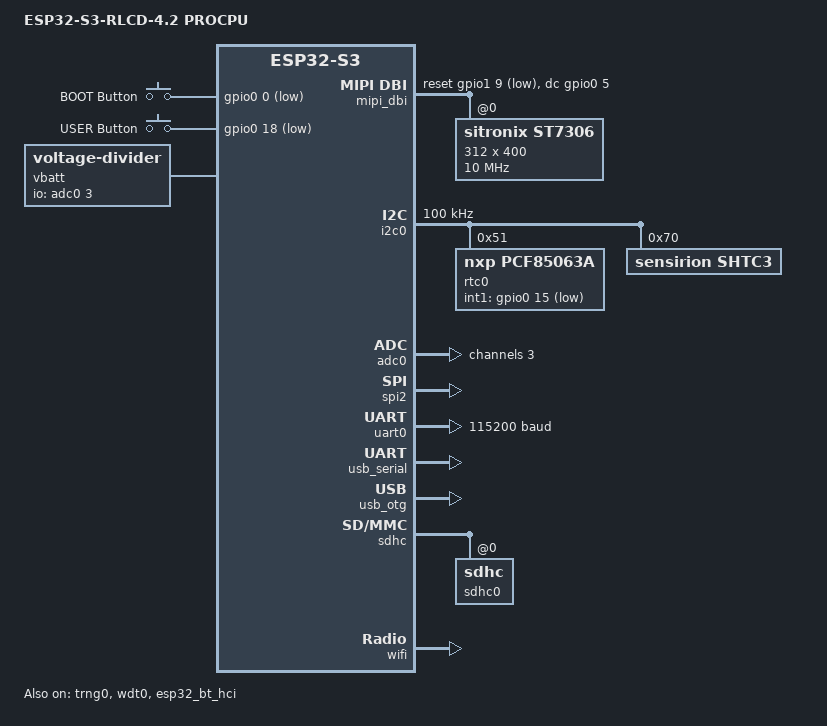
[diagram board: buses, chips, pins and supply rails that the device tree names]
/*
 * Copyright (c) 2026
 * SPDX-License-Identifier: Apache-2.0
 */

/dts-v1/;

#include <espressif/esp32s3/esp32s3_wroom_n16r8.dtsi>
#include <zephyr/dt-bindings/adc/adc.h>
#include <zephyr/dt-bindings/input/input-event-codes.h>
#include <espressif/partitions_0x0_amp_16M.dtsi>
#include "esp32s3_rlcd_4_2-pinctrl.dtsi"

/ {
	model = "ESP32-S3-RLCD-4.2 PROCPU";
	compatible = "waveshare,esp32-s3-rlcd-4.2";

	aliases {
		i2c-0 = &i2c0;
		uart-0 = &uart0;
		rtc = &rtc0;
		sw0 = &button0;
		sw1 = &button1;
		sdhc0 = &sdhc0;
		watchdog0 = &wdt0;
		dht0 = &shtc3;
	};

	chosen {
		zephyr,sram = &sram1;
		zephyr,console = &usb_serial;
		zephyr,shell-uart = &usb_serial;
		zephyr,flash = &flash0;
		zephyr,code-partition = &slot0_partition;
		zephyr,display = &st7306;
		zephyr,sdhc = &sdhc0;
		zephyr,bt-hci = &esp32_bt_hci;
	};

	buttons {
		compatible = "gpio-keys";

		button0: button_0 {
			gpios = <&gpio0 0 (GPIO_PULL_UP | GPIO_ACTIVE_LOW)>;
			label = "BOOT Button";
			zephyr,code = <INPUT_KEY_0>;
		};

		button1: button_1 {
			gpios = <&gpio0 18 (GPIO_PULL_UP | GPIO_ACTIVE_LOW)>;
			label = "USER Button";
			zephyr,code = <INPUT_KEY_1>;
		};
	};

	vbatt: vbatt {
		compatible = "voltage-divider";
		io-channels = <&adc0 3>;
		output-ohms = <100000>;
		full-ohms = <(200000 + 100000)>;
		skip-calibration; /* ESP32 ADC does not support calibration */
	};

	mipi_dbi {
		compatible = "zephyr,mipi-dbi-spi";
		spi-dev = <&spi2>;
		dc-gpios = <&gpio0 5 GPIO_ACTIVE_HIGH>;
		reset-gpios = <&gpio1 9 GPIO_ACTIVE_LOW>;
		write-only;
		#address-cells = <1>;
		#size-cells = <0>;

		st7306: st7306@0 {
			status = "okay";
			compatible = "sitronix,st7306";
			reg = <0>;
			mipi-max-frequency = <10000000>;
			mipi-mode = "MIPI_DBI_MODE_SPI_4WIRE";
			width = <312>;
			height = <400>;
			start-line = <0>;
			start-column = <204>;
			nvm-load = [17 02];
			gate-voltages = [11 04];
			vsh = [69 69 69 69];
			vsl = [19 19 19 19];
			vshn = [4b 4b 4b 4b];
			vsln = [19 19 19 19];
			osc-settings = <0x80>;
			framerate = <0x02>;
			multiplex-ratio = <0x64>;
			source-voltage = <0x00>;
			remap-value = <0x48>;
			panel-settings = <0x29>;
			hpm-gate-waveform = [e5 f6 05 46 77 77 77 77 76 45];
			lpm-gate-waveform = [05 46 77 77 77 77 76 45];
			inversion-on;
		};
	};
};

&gpio0 {
	status = "okay";
};

&gpio1 {
	status = "okay";
};

&i2c0 {
	status = "okay";
	clock-frequency = <I2C_BITRATE_STANDARD>;
	pinctrl-0 = <&i2c0_default>;
	pinctrl-names = "default";

	rtc0: rtc@51 {
		status = "okay";
		compatible = "nxp,pcf85063a";
		reg = <0x51>;
		int1-gpios = <&gpio0 15 (GPIO_PULL_UP | GPIO_ACTIVE_LOW)>;
	};

	shtc3: shtc3@70 {
		status = "okay";
		compatible = "sensirion,shtc3", "sensirion,shtcx";
		reg = <0x70>;
		measure-mode = "normal";
	};
};

&adc0 {
	status = "okay";
	#address-cells = <1>;
	#size-cells = <0>;

	channel@3 {
		reg = <3>;
		zephyr,gain = "ADC_GAIN_1_4";
		zephyr,reference = "ADC_REF_INTERNAL";
		zephyr,acquisition-time = <ADC_ACQ_TIME_DEFAULT>;
		zephyr,resolution = <12>;
	};
};

&spi2 {
	status = "okay";
	#address-cells = <1>;
	#size-cells = <0>;
	pinctrl-0 = <&spim2_default>;
	pinctrl-names = "default";
	cs-gpios = <&gpio1 8 GPIO_ACTIVE_LOW>;
};

&uart0 {
	status = "okay";
	current-speed = <115200>;
	pinctrl-0 = <&uart0_default>;
	pinctrl-names = "default";
};

&usb_serial {
	status = "okay";
};

zephyr_udc0: &usb_otg {
	status = "okay";
};

&sdhc {
	sdhc0: sdhc@0 {
		status = "okay";
		pinctrl-0 = <&sdhc0_default>;
		pinctrl-names = "default";
		max-bus-freq = <20000000>;
		bus-width = <1>;

		mmc {
			compatible = "zephyr,sdmmc-disk";
			disk-name = "SD";
			status = "okay";
		};
	};
};

&trng0 {
	status = "okay";
};

&wdt0 {
	status = "okay";
};

&esp32_bt_hci {
	status = "okay";
};

&wifi {
	status = "okay";
};
